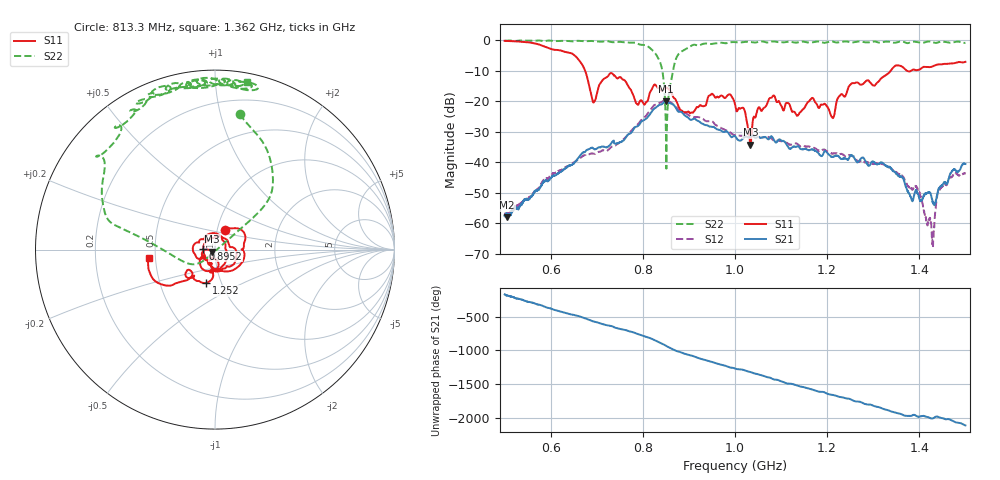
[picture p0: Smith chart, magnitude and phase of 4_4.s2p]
!Agilent Technologies,E8364B,US42250235,A.06.04.32
!Agilent E8364B: A.06.04.32
!Date: Thursday, October 01, 2020 11:12:07
!Correction: S11(Full 2 Port(1,2)) S21(Full 2 Port(1,2)) S12(Full 2 Port(1,2)) S22(Full 2 Port(1,2))
!S2P File: Measurements: S11, S21, S12, S22:
# Hz S  dB  R 50
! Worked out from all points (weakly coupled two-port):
!   2650 points, 500 MHz to 1.5 GHz, reference 50 ohm
!   highest |S21| = -20.02 dB at 849.2 MHz (marker M1); lowest = -58.1 dB at 505.7 MHz (marker M2)
!   lowest |S11| = -34.3 dB at 1.033 GHz (marker M3), VSWR 1.04, Z = 48.4 - j1.03 ohm
!   |S11| at or under -10 dB: 674.6 MHz to 1.338 GHz (663.4 MHz wide, 65.9 % of centre); 1.373 GHz to 1.382 GHz (9.502 MHz wide, 0.69 % of centre)
!   |S22| runs from -42.2 to -0.1 dB; largest |S21 - S12| = 0.017
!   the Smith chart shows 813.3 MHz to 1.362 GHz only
!   S11 on the Smith chart (normalised r, x): 813.3 MHz: 1.09, +0.24; 895.2 MHz: 0.88, +0.01; 1.252 GHz: 0.85, -0.33; 1.362 GHz: 0.46, -0.05
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5e8  -0.23 -175.3  -57.43 -169.5  -57.45 -161.2  -0.21 136.5
5.056625e8  -0.28 -178.3  -58.05 175.8  -56.91 -176.6  -0.18 135.6
5.845602e8  -1.96 130.2  -46.55 17.2  -45.96 27.7  -0.32 130.8
6.668554e8  -7.68 54.3  -37.28 -144.0  -38.31 -158.3  -0.32 121.2
6.932805e8  -20.43 74.0  -35.61 149.3  -37.24 137.1  -0.34 117.4
7.310306e8  -10.80 76.1  -33.94 84.0  -35.11 74.4  -0.61 112.2
8.133258e8  -18.20 63.2  -24.74 -90.9  -23.42 -83.1  -2.30 79.7
8.337108e8  -15.72 10.4  -21.41 -152.6  -20.70 -148.3  -6.02 49.8
8.491884e8  -15.45 -16.2  -20.02 154.1  -19.50 158.7  -24.03 35.1
8.718384e8  -19.73 -95.4  -22.25 75.3  -21.89 83.3  -6.16 168.3
8.952435e8  -23.61 175.3  -25.08 22.5  -24.16 27.8  -2.75 149.4
1.000189e9  -21.12 -151.4  -31.54 171.8  -31.11 150.1  -0.64 118.2
1.033409e9  -34.30 -146.7  -31.68 120.5  -31.49 85.8  -0.58 113.7
1.079841e9  -18.80 -167.8  -31.59 23.4  -32.39 -10.3  -0.46 102.3
1.166667e9  -19.01 -80.9  -35.77 -136.6  -35.28 -158.0  -0.74 94.2
1.211589e9  -25.41 -99.8  -38.29 141.3  -37.20 124.5  -0.44 95.8
1.251982e9  -14.34 -104.8  -37.67 71.4  -37.84 47.5  -0.74 89.4
1.333522e9  -10.76 -139.5  -41.53 -89.3  -41.73 -118.0  -0.50 82.1
1.361835e9  -8.62 -172.9  -44.78 -147.1  -44.38 178.8  -0.44 79.2
1.427897e9  -8.66 170.2  -52.22 149.8  -65.82 116.6  -0.60 74.1
1.44413e9  -7.95 161.2  -48.27 165.8  -48.94 153.5  -0.55 64.6
1.5e9  -7.12 139.4  -40.61 47.4  -43.65 25.6  -0.85 59.4
